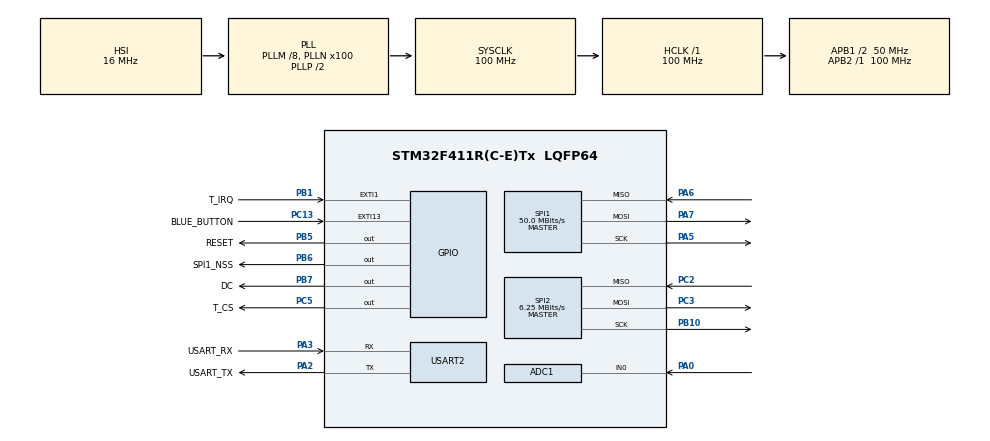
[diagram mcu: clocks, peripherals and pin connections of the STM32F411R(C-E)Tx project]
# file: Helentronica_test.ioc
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ADC1.Channel-4\#ChannelRegularConversion=ADC_CHANNEL_0
ADC1.ContinuousConvMode=ENABLE
ADC1.DMAContinuousRequests=ENABLE
ADC1.EOCSelection=ADC_EOC_SEQ_CONV
ADC1.NbrOfConversionFlag=1
ADC1.Rank-4\#ChannelRegularConversion=1
ADC1.SamplingTime-4\#ChannelRegularConversion=ADC_SAMPLETIME_3CYCLES
ADC1.master=1
Dma.ADC1.1.Direction=DMA_PERIPH_TO_MEMORY
Dma.ADC1.1.FIFOMode=DMA_FIFOMODE_DISABLE
Dma.ADC1.1.Instance=DMA2_Stream4
Dma.ADC1.1.MemDataAlignment=DMA_MDATAALIGN_WORD
Dma.ADC1.1.MemInc=DMA_MINC_ENABLE
Dma.ADC1.1.Mode=DMA_NORMAL
Dma.ADC1.1.PeriphDataAlignment=DMA_PDATAALIGN_WORD
Dma.ADC1.1.PeriphInc=DMA_PINC_DISABLE
Dma.ADC1.1.Priority=DMA_PRIORITY_LOW
Dma.Request0=SPI1_TX
Dma.Request1=ADC1
Dma.SPI1_TX.0.Direction=DMA_MEMORY_TO_PERIPH
Dma.SPI1_TX.0.FIFOMode=DMA_FIFOMODE_ENABLE
Dma.SPI1_TX.0.FIFOThreshold=DMA_FIFO_THRESHOLD_FULL
Dma.SPI1_TX.0.Instance=DMA2_Stream2
Dma.SPI1_TX.0.MemBurst=DMA_MBURST_SINGLE
Dma.SPI1_TX.0.MemDataAlignment=DMA_MDATAALIGN_BYTE
Dma.SPI1_TX.0.MemInc=DMA_MINC_ENABLE
Dma.SPI1_TX.0.Mode=DMA_NORMAL
Dma.SPI1_TX.0.PeriphBurst=DMA_PBURST_SINGLE
Dma.SPI1_TX.0.PeriphDataAlignment=DMA_PDATAALIGN_BYTE
Dma.SPI1_TX.0.PeriphInc=DMA_PINC_DISABLE
Dma.SPI1_TX.0.Priority=DMA_PRIORITY_LOW
Mcu.Family=STM32F4
Mcu.Name=STM32F411R(C-E)Tx
Mcu.Package=LQFP64
NVIC.DMA2_Stream2_IRQn=true\:2\:0\:true\:false\:true\:true\:true
NVIC.DMA2_Stream4_IRQn=true\:1\:0\:true\:false\:true\:false\:true
NVIC.EXTI15_10_IRQn=true\:6\:0\:true\:false\:true\:true\:true
NVIC.PriorityGroup=NVIC_PRIORITYGROUP_4
NVIC.SPI1_IRQn=true\:3\:0\:true\:false\:true\:true\:true
NVIC.SPI2_IRQn=true\:4\:0\:true\:false\:true\:true\:true
NVIC.TIM2_IRQn=true\:0\:0\:true\:false\:true\:true\:true
NVIC.USART2_IRQn=true\:15\:0\:true\:false\:true\:true\:true
PA0-WKUP.Signal=ADCx_IN0
PA13.GPIO_Label=TMS
PA13.Mode=Serial_Wire
PA13.Signal=SYS_JTMS-SWDIO
PA14.GPIO_Label=TCK
PA14.Mode=Serial_Wire
PA14.Signal=SYS_JTCK-SWCLK
PA2.GPIO_Label=USART_TX
PA2.Mode=Asynchronous
PA2.Signal=USART2_TX
PA3.GPIO_Label=USART_RX
PA3.Mode=Asynchronous
PA3.Signal=USART2_RX
PA5.Mode=Full_Duplex_Master
PA5.Signal=SPI1_SCK
PA6.Mode=Full_Duplex_Master
PA6.Signal=SPI1_MISO
PA7.Mode=Full_Duplex_Master
PA7.Signal=SPI1_MOSI
PB1.GPIO_Label=T_IRQ
PB1.GPIO_ModeDefaultEXTI=GPIO_MODE_IT_FALLING
PB1.GPIO_PuPd=GPIO_PULLUP
PB1.Signal=GPXTI1
PB10.Mode=Full_Duplex_Master
PB10.Signal=SPI2_SCK
PB3.GPIO_Label=SWO
PB3.Signal=SYS_JTDO-SWO
PB5.GPIO_Label=RESET
PB5.Signal=GPIO_Output
PB6.GPIO_Label=SPI1_NSS
PB6.Signal=GPIO_Output
PB7.GPIO_Label=DC
PB7.Signal=GPIO_Output
PC13-ANTI_TAMP.GPIO_Label=BLUE_BUTTON
PC13-ANTI_TAMP.Signal=GPXTI13
PC14-OSC32_IN.Signal=RCC_OSC32_IN
PC15-OSC32_OUT.Signal=RCC_OSC32_OUT
PC2.Mode=Full_Duplex_Master
PC2.Signal=SPI2_MISO
PC3.Mode=Full_Duplex_Master
PC3.Signal=SPI2_MOSI
PC5.GPIO_Label=T_CS
PC5.Signal=GPIO_Output
PH0\ -\ OSC_IN.Signal=RCC_OSC_IN
PH1\ -\ OSC_OUT.Signal=RCC_OSC_OUT
ProjectManager.HeapSize=0x200
ProjectManager.StackSize=0x400
ProjectManager.TargetToolchain=STM32CubeIDE
RCC.48MHZClocksFreq_Value=50000000
RCC.AHBFreq_Value=100000000
RCC.APB1CLKDivider=RCC_HCLK_DIV2
RCC.APB1Freq_Value=50000000
RCC.APB1TimFreq_Value=100000000
RCC.APB2Freq_Value=100000000
RCC.APB2TimFreq_Value=100000000
RCC.CortexFreq_Value=100000000
RCC.FLatency-AdvancedSettings=FLASH_LATENCY_3
RCC.HCLKFreq_Value=100000000
RCC.HSE_VALUE=8000000
RCC.HSI_VALUE=16000000
RCC.LSE_VALUE=32768
RCC.PLLM=8
RCC.PLLN=100
RCC.SYSCLKFreq_VALUE=100000000
RCC.SYSCLKSource=RCC_SYSCLKSOURCE_PLLCLK
RCC.VCOOutputFreq_Value=200000000
SH.ADCx_IN0.0=ADC1_IN0,IN0
SPI1.CalculateBaudRate=50.0 MBits/s
SPI1.Direction=SPI_DIRECTION_2LINES
SPI1.Mode=SPI_MODE_MASTER
SPI1.VirtualType=VM_MASTER
SPI2.BaudRatePrescaler=SPI_BAUDRATEPRESCALER_8
SPI2.CalculateBaudRate=6.25 MBits/s
SPI2.Direction=SPI_DIRECTION_2LINES
SPI2.Mode=SPI_MODE_MASTER
SPI2.VirtualType=VM_MASTER
STMicroelectronics.X-CUBE-TOUCHGFX.4.15.0.ApplicationCcGraphicsJjApplication=TouchGFXOoGenerator
STMicroelectronics.X-CUBE-TOUCHGFX.4.15.0.tgfx_buffering_strategy=Partial
STMicroelectronics.X-CUBE-TOUCHGFX.4.15.0.tgfx_custom_height=240
STMicroelectronics.X-CUBE-TOUCHGFX.4.15.0.tgfx_custom_width=320
TIM2.AutoReloadPreload=TIM_AUTORELOAD_PRELOAD_DISABLE
TIM2.ClockDivision=TIM_CLOCKDIVISION_DIV1
TIM2.Period=15
TIM2.Prescaler=49999
TIM2.TIM_MasterSlaveMode=TIM_MASTERSLAVEMODE_DISABLE
USART2.VirtualMode=VM_ASYNC
VP_CRC_VS_CRC.Mode=CRC_Activate
VP_STMicroelectronics.X-CUBE-TOUCHGFX_VS_GraphicsJjApplication_4.15.0.Mode=GraphicsJjApplication
VP_TIM2_VS_ClockSourceINT.Mode=Internal
board=NUCLEO-F411RE

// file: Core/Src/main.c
/* USER CODE BEGIN Header */
/**
  ******************************************************************************
  * @file           : main.c
  * @brief          : Main program body
  ******************************************************************************
  * @attention
  *
  * <h2><center>&copy; Copyright (c) 2020 STMicroelectronics.
  * All rights reserved.</center></h2>
  *
  * This software component is licensed by ST under BSD 3-Clause license,
  * the "License"; You may not use this file except in compliance with the
  * License. You may obtain a copy of the License at:
  *                        opensource.org/licenses/BSD-3-Clause
  *
  ******************************************************************************
  */
/* USER CODE END Header */
#include "main.h"
#include "app_touchgfx.h"

/* USER CODE BEGIN Includes */
#include "ili9341.h"
#include "xpt2046.h"
/* USER CODE END Includes */

/* USER CODE BEGIN PD */
#define ADC_BUFFER_LENGTH 280
/* USER CODE END PD */

ADC_HandleTypeDef hadc1;
DMA_HandleTypeDef hdma_adc1;

CRC_HandleTypeDef hcrc;

SPI_HandleTypeDef hspi1;
SPI_HandleTypeDef hspi2;
DMA_HandleTypeDef hdma_spi1_tx;

TIM_HandleTypeDef htim2;

UART_HandleTypeDef huart2;

/* USER CODE BEGIN PV */
int noMeasurements = 0;
uint32_t adc_data[ADC_BUFFER_LENGTH] = {0};
/* USER CODE END PV */

void SystemClock_Config(void);
static void MX_GPIO_Init(void);
static void MX_DMA_Init(void);
static void MX_SPI1_Init(void);
static void MX_USART2_UART_Init(void);
static void MX_SPI2_Init(void);
static void MX_TIM2_Init(void);
static void MX_CRC_Init(void);
static void MX_ADC1_Init(void);

int main(void)
{

  /* MCU Configuration--------------------------------------------------------*/

  /* Reset of all peripherals, Initializes the Flash interface and the Systick. */
  HAL_Init();

  /* Configure the system clock */
  SystemClock_Config();

  /* Initialize all configured peripherals */
  MX_GPIO_Init();
  MX_DMA_Init();
  MX_SPI1_Init();
  MX_USART2_UART_Init();
  MX_SPI2_Init();
  MX_TIM2_Init();
  MX_CRC_Init();
  MX_ADC1_Init();
  MX_TouchGFX_Init();
  /* USER CODE BEGIN 2 */
  ILI9341_Init();
  XPT2046_Init();
  /* USER CODE END 2 */

  /* Infinite loop */
  while (1)
  {

  MX_TouchGFX_Process();
  }
}

void SystemClock_Config(void)
{
  RCC_OscInitTypeDef RCC_OscInitStruct = {0};
  RCC_ClkInitTypeDef RCC_ClkInitStruct = {0};

  /** Configure the main internal regulator output voltage
  */
  __HAL_RCC_PWR_CLK_ENABLE();
  __HAL_PWR_VOLTAGESCALING_CONFIG(PWR_REGULATOR_VOLTAGE_SCALE1);
  /** Initializes the RCC Oscillators according to the specified parameters
  * in the RCC_OscInitTypeDef structure.
  */
  RCC_OscInitStruct.OscillatorType = RCC_OSCILLATORTYPE_HSI;
  RCC_OscInitStruct.HSIState = RCC_HSI_ON;
  RCC_OscInitStruct.HSICalibrationValue = RCC_HSICALIBRATION_DEFAULT;
  RCC_OscInitStruct.PLL.PLLState = RCC_PLL_ON;
  RCC_OscInitStruct.PLL.PLLSource = RCC_PLLSOURCE_HSI;
  RCC_OscInitStruct.PLL.PLLM = 8;
  RCC_OscInitStruct.PLL.PLLN = 100;
  RCC_OscInitStruct.PLL.PLLP = RCC_PLLP_DIV2;
  RCC_OscInitStruct.PLL.PLLQ = 4;
  if (HAL_RCC_OscConfig(&RCC_OscInitStruct) != HAL_OK)
  {
    Error_Handler();
  }
  /** Initializes the CPU, AHB and APB buses clocks
  */
  RCC_ClkInitStruct.ClockType = RCC_CLOCKTYPE_HCLK|RCC_CLOCKTYPE_SYSCLK
                              |RCC_CLOCKTYPE_PCLK1|RCC_CLOCKTYPE_PCLK2;
  RCC_ClkInitStruct.SYSCLKSource = RCC_SYSCLKSOURCE_PLLCLK;
  RCC_ClkInitStruct.AHBCLKDivider = RCC_SYSCLK_DIV1;
  RCC_ClkInitStruct.APB1CLKDivider = RCC_HCLK_DIV2;
  RCC_ClkInitStruct.APB2CLKDivider = RCC_HCLK_DIV1;

  if (HAL_RCC_ClockConfig(&RCC_ClkInitStruct, FLASH_LATENCY_3) != HAL_OK)
  {
    Error_Handler();
  }
}

static void MX_ADC1_Init(void)
{

  ADC_ChannelConfTypeDef sConfig = {0};

  /** Configure the global features of the ADC (Clock, Resolution, Data Alignment and number of conversion)
  */
  hadc1.Instance = ADC1;
  hadc1.Init.ClockPrescaler = ADC_CLOCK_SYNC_PCLK_DIV4;
  hadc1.Init.Resolution = ADC_RESOLUTION_12B;
  hadc1.Init.ScanConvMode = DISABLE;
  hadc1.Init.ContinuousConvMode = ENABLE;
  hadc1.Init.DiscontinuousConvMode = DISABLE;
  hadc1.Init.ExternalTrigConvEdge = ADC_EXTERNALTRIGCONVEDGE_NONE;
  hadc1.Init.ExternalTrigConv = ADC_SOFTWARE_START;
  hadc1.Init.DataAlign = ADC_DATAALIGN_RIGHT;
  hadc1.Init.NbrOfConversion = 1;
  hadc1.Init.DMAContinuousRequests = ENABLE;
  hadc1.Init.EOCSelection = ADC_EOC_SEQ_CONV;
  if (HAL_ADC_Init(&hadc1) != HAL_OK)
  {
    Error_Handler();
  }
  /** Configure for the selected ADC regular channel its corresponding rank in the sequencer and its sample time.
  */
  sConfig.Channel = ADC_CHANNEL_0;
  sConfig.Rank = 1;
  sConfig.SamplingTime = ADC_SAMPLETIME_3CYCLES;
  if (HAL_ADC_ConfigChannel(&hadc1, &sConfig) != HAL_OK)
  {
    Error_Handler();
  }
  /* USER CODE BEGIN ADC1_Init 2 */
  HAL_ADC_Start_DMA(&hadc1, adc_data, ADC_BUFFER_LENGTH);
  /* USER CODE END ADC1_Init 2 */

}

static void MX_CRC_Init(void)
{

  hcrc.Instance = CRC;
  if (HAL_CRC_Init(&hcrc) != HAL_OK)
  {
    Error_Handler();
  }

}

static void MX_SPI1_Init(void)
{

  /* SPI1 parameter configuration*/
  hspi1.Instance = SPI1;
  hspi1.Init.Mode = SPI_MODE_MASTER;
  hspi1.Init.Direction = SPI_DIRECTION_2LINES;
  hspi1.Init.DataSize = SPI_DATASIZE_8BIT;
  hspi1.Init.CLKPolarity = SPI_POLARITY_LOW;
  hspi1.Init.CLKPhase = SPI_PHASE_1EDGE;
  hspi1.Init.NSS = SPI_NSS_SOFT;
  hspi1.Init.BaudRatePrescaler = SPI_BAUDRATEPRESCALER_2;
  hspi1.Init.FirstBit = SPI_FIRSTBIT_MSB;
  hspi1.Init.TIMode = SPI_TIMODE_DISABLE;
  hspi1.Init.CRCCalculation = SPI_CRCCALCULATION_DISABLE;
  hspi1.Init.CRCPolynomial = 10;
  if (HAL_SPI_Init(&hspi1) != HAL_OK)
  {
    Error_Handler();
  }

}

static void MX_SPI2_Init(void)
{

  /* SPI2 parameter configuration*/
  hspi2.Instance = SPI2;
  hspi2.Init.Mode = SPI_MODE_MASTER;
  hspi2.Init.Direction = SPI_DIRECTION_2LINES;
  hspi2.Init.DataSize = SPI_DATASIZE_8BIT;
  hspi2.Init.CLKPolarity = SPI_POLARITY_LOW;
  hspi2.Init.CLKPhase = SPI_PHASE_1EDGE;
  hspi2.Init.NSS = SPI_NSS_SOFT;
  hspi2.Init.BaudRatePrescaler = SPI_BAUDRATEPRESCALER_8;
  hspi2.Init.FirstBit = SPI_FIRSTBIT_MSB;
  hspi2.Init.TIMode = SPI_TIMODE_DISABLE;
  hspi2.Init.CRCCalculation = SPI_CRCCALCULATION_DISABLE;
  hspi2.Init.CRCPolynomial = 10;
  if (HAL_SPI_Init(&hspi2) != HAL_OK)
  {
    Error_Handler();
  }

}

static void MX_TIM2_Init(void)
{

  TIM_ClockConfigTypeDef sClockSourceConfig = {0};
  TIM_MasterConfigTypeDef sMasterConfig = {0};

  htim2.Instance = TIM2;
  htim2.Init.Prescaler = 49999;
  htim2.Init.CounterMode = TIM_COUNTERMODE_UP;
  htim2.Init.Period = 15;
  htim2.Init.ClockDivision = TIM_CLOCKDIVISION_DIV1;
  htim2.Init.AutoReloadPreload = TIM_AUTORELOAD_PRELOAD_DISABLE;
  if (HAL_TIM_Base_Init(&htim2) != HAL_OK)
  {
    Error_Handler();
  }
  sClockSourceConfig.ClockSource = TIM_CLOCKSOURCE_INTERNAL;
  if (HAL_TIM_ConfigClockSource(&htim2, &sClockSourceConfig) != HAL_OK)
  {
    Error_Handler();
  }
  sMasterConfig.MasterOutputTrigger = TIM_TRGO_RESET;
  sMasterConfig.MasterSlaveMode = TIM_MASTERSLAVEMODE_DISABLE;
  if (HAL_TIMEx_MasterConfigSynchronization(&htim2, &sMasterConfig) != HAL_OK)
  {
    Error_Handler();
  }
  /* USER CODE BEGIN TIM2_Init 2 */
  HAL_TIM_Base_Start_IT(&htim2);
  /* USER CODE END TIM2_Init 2 */

}

static void MX_USART2_UART_Init(void)
{

  huart2.Instance = USART2;
  huart2.Init.BaudRate = 115200;
  huart2.Init.WordLength = UART_WORDLENGTH_8B;
  huart2.Init.StopBits = UART_STOPBITS_1;
  huart2.Init.Parity = UART_PARITY_NONE;
  huart2.Init.Mode = UART_MODE_TX_RX;
  huart2.Init.HwFlowCtl = UART_HWCONTROL_NONE;
  huart2.Init.OverSampling = UART_OVERSAMPLING_16;
  if (HAL_UART_Init(&huart2) != HAL_OK)
  {
    Error_Handler();
  }

}

static void MX_DMA_Init(void)
{

  /* DMA controller clock enable */
  __HAL_RCC_DMA2_CLK_ENABLE();

  /* DMA interrupt init */
  /* DMA2_Stream2_IRQn interrupt configuration */
  HAL_NVIC_SetPriority(DMA2_Stream2_IRQn, 2, 0);
  HAL_NVIC_EnableIRQ(DMA2_Stream2_IRQn);
  /* DMA2_Stream4_IRQn interrupt configuration */
  HAL_NVIC_SetPriority(DMA2_Stream4_IRQn, 1, 0);
  HAL_NVIC_EnableIRQ(DMA2_Stream4_IRQn);

}

static void MX_GPIO_Init(void)
{
  GPIO_InitTypeDef GPIO_InitStruct = {0};

  /* GPIO Ports Clock Enable */
  __HAL_RCC_GPIOC_CLK_ENABLE();
  __HAL_RCC_GPIOH_CLK_ENABLE();
  __HAL_RCC_GPIOA_CLK_ENABLE();
  __HAL_RCC_GPIOB_CLK_ENABLE();

  /*Configure GPIO pin Output Level */
  HAL_GPIO_WritePin(T_CS_GPIO_Port, T_CS_Pin, GPIO_PIN_RESET);

  /*Configure GPIO pin Output Level */
  HAL_GPIO_WritePin(GPIOB, RESET_Pin|SPI1_NSS_Pin|DC_Pin, GPIO_PIN_RESET);

  /*Configure GPIO pin : BLUE_BUTTON_Pin */
  GPIO_InitStruct.Pin = BLUE_BUTTON_Pin;
  GPIO_InitStruct.Mode = GPIO_MODE_IT_RISING;
  GPIO_InitStruct.Pull = GPIO_NOPULL;
  HAL_GPIO_Init(BLUE_BUTTON_GPIO_Port, &GPIO_InitStruct);

  /*Configure GPIO pin : T_CS_Pin */
  GPIO_InitStruct.Pin = T_CS_Pin;
  GPIO_InitStruct.Mode = GPIO_MODE_OUTPUT_PP;
  GPIO_InitStruct.Pull = GPIO_NOPULL;
  GPIO_InitStruct.Speed = GPIO_SPEED_FREQ_LOW;
  HAL_GPIO_Init(T_CS_GPIO_Port, &GPIO_InitStruct);

  /*Configure GPIO pin : T_IRQ_Pin */
  GPIO_InitStruct.Pin = T_IRQ_Pin;
  GPIO_InitStruct.Mode = GPIO_MODE_IT_FALLING;
  GPIO_InitStruct.Pull = GPIO_PULLUP;
  HAL_GPIO_Init(T_IRQ_GPIO_Port, &GPIO_InitStruct);

  /*Configure GPIO pins : RESET_Pin SPI1_NSS_Pin DC_Pin */
  GPIO_InitStruct.Pin = RESET_Pin|SPI1_NSS_Pin|DC_Pin;
  GPIO_InitStruct.Mode = GPIO_MODE_OUTPUT_PP;
  GPIO_InitStruct.Pull = GPIO_NOPULL;
  GPIO_InitStruct.Speed = GPIO_SPEED_FREQ_LOW;
  HAL_GPIO_Init(GPIOB, &GPIO_InitStruct);

  /* EXTI interrupt init*/
  HAL_NVIC_SetPriority(EXTI15_10_IRQn, 6, 0);
  HAL_NVIC_EnableIRQ(EXTI15_10_IRQn);

}

/* USER CODE BEGIN 4 */
extern void touchgfxSignalVSync(void);

void HAL_TIM_PeriodElapsedCallback(TIM_HandleTypeDef *htim)
{
	if (htim->Instance == TIM2) {
		touchgfxSignalVSync();
	}
	if (htim->Instance == TIM1) {

	}
}

/* ADC interrupt routine */
void HAL_ADC_ConvCpltCallback(ADC_HandleTypeDef *hadc){
	HAL_ADC_Stop_DMA(hadc);
	noMeasurements++;
	HAL_ADC_Start_DMA(hadc, adc_data, ADC_BUFFER_LENGTH);
}
/* USER CODE END 4 */

void Error_Handler(void)
{
  /* USER CODE BEGIN Error_Handler_Debug */
  /* User can add his own implementation to report the HAL error return state */
	while (1)
		;
  /* USER CODE END Error_Handler_Debug */
}

/************************ (C) COPYRIGHT STMicroelectronics *****END OF FILE****/
